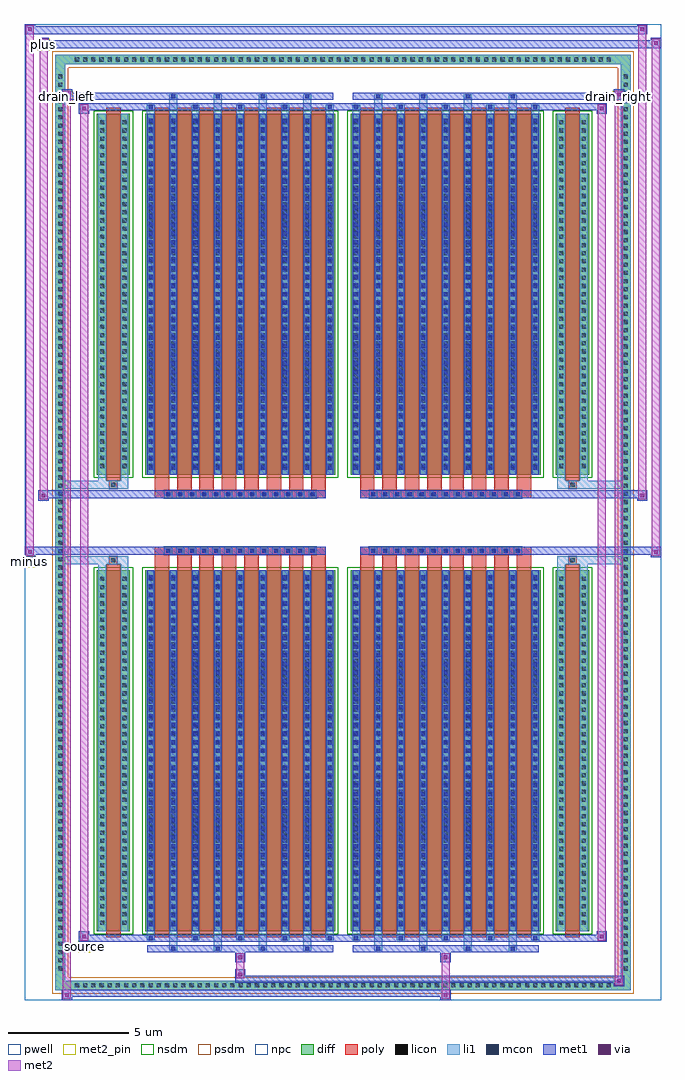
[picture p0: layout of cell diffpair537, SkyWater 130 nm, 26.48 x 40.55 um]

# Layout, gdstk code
import gdstk
lib = gdstk.Library(unit=1e-6, precision=5e-09)
def R(c, l, rs):  # rectangles x0, y0, x1, y1
    for r in rs: c.add(gdstk.rectangle(r[:2], r[2:], *l))
def A(c, l, x, y, w, h, nx, ny, dx, dy):  # array of equal rectangles
    R(c, l, [(x+i*dx, y+j*dy, x+i*dx+w, y+j*dy+h) for i in range(nx) for j in range(ny)])
def P(c, l, *ps):  # polygons
    for p in ps: c.add(gdstk.Polygon(p, *l))
pwell = (64, 44)
diff = (65, 20)
poly = (66, 20)
licon = (66, 44)
li1 = (67, 20)
mcon = (67, 44)
met1 = (68, 20)
via = (68, 44)
met2_pin = (69, 16)
met2 = (69, 20)
nsdm = (93, 44)
psdm = (94, 20)
npc = (95, 20)

diffpair537 = lib.new_cell('diffpair537')
R(diffpair537, pwell, [(-13.22,-19.84,13.22,20.71), (-10.54,-18.03,-0.01,-0.805), (0.01,-18.03,10.54,-0.805), (-10.54,0.805,-0.01,18.03), (0.01,0.805,10.54,18.03)])
A(diffpair537, diff, -11.255, -19.44, 0.41, 0.41, 66, 2, 0.34, 38.47)
A(diffpair537, diff, -11.95, -18.735, 0.41, 0.41, 1, 110, 0, 0.34)
A(diffpair537, diff, 11.54, -18.735, 0.41, 0.41, 1, 110, 0, 0.34)
R(diffpair537, diff, [(-11.255,-19.44,11.255,-19.03), (-11.95,-18.735,-11.54,18.735), (11.54,-18.735,11.95,18.735), (-10.23,-16.985,-8.85,-1.985), (-8.21,-16.985,-0.32,-1.985), (0.32,-16.985,8.21,-1.985), (8.85,-16.985,10.23,-1.985), (-10.23,1.985,-8.85,16.985), (-8.21,1.985,-0.32,16.985), (0.32,1.985,8.21,16.985), (8.85,1.985,10.23,16.985), (-11.255,19.03,11.255,19.44)])
P(diffpair537, diff, [(11.95,19.44),(-11.95,19.44),(-11.95,-19.03),(-11.54,-19.03),(-11.54,19.03),(11.54,19.03),(11.54,-19.03),(-11.54,-19.03),(-11.95,-19.03),(-11.95,-19.44),(11.95,-19.44)])
A(diffpair537, poly, -7.82, -17.235, 0.6, 15.5, 8, 2, 0.93, 18.97)
A(diffpair537, poly, 0.71, -17.235, 0.6, 15.5, 8, 2, 0.93, 18.97)
A(diffpair537, poly, -7.82, -1.735, 0.6, 0.4, 8, 2, 0.93, 3.07)
A(diffpair537, poly, 0.71, -1.735, 0.6, 0.4, 8, 2, 0.93, 3.07)
A(diffpair537, poly, -7.43, -1.335, 0.33, 0.33, 13, 2, 0.5, 2.34)
A(diffpair537, poly, 1.1, -1.335, 0.33, 0.33, 13, 2, 0.5, 2.34)
R(diffpair537, poly, [(-9.84,-17.235,-9.24,-1.735), (9.24,-17.235,9.84,-1.735), (-9.705,-1.735,-9.375,-1.405), (-9.705,-1.735,-9.375,-1.405), (9.375,-1.735,9.705,-1.405), (9.375,-1.735,9.705,-1.405), (-7.82,-1.335,-0.71,-1.005), (0.71,-1.335,7.82,-1.005), (-7.82,1.005,-0.71,1.335), (0.71,1.005,7.82,1.335), (-9.705,1.405,-9.375,1.735), (-9.705,1.405,-9.375,1.735), (9.375,1.405,9.705,1.735), (9.375,1.405,9.705,1.735), (-9.84,1.735,-9.24,17.235), (9.24,1.735,9.84,17.235)])
A(diffpair537, licon, -11.135, -19.32, 0.17, 0.17, 66, 2, 0.34, 38.47)
A(diffpair537, licon, -11.83, -18.615, 0.17, 0.17, 1, 110, 0, 0.34)
A(diffpair537, licon, 11.66, -18.615, 0.17, 0.17, 1, 110, 0, 0.34)
A(diffpair537, licon, -10.09, -16.71, 0.17, 0.17, 1, 43, 0, 0.34)
A(diffpair537, licon, -9.16, -16.71, 0.17, 0.17, 1, 43, 0, 0.34)
A(diffpair537, licon, -8.07, -16.71, 0.17, 0.17, 9, 43, 0.93, 0.34)
A(diffpair537, licon, 0.46, -16.71, 0.17, 0.17, 9, 43, 0.93, 0.34)
A(diffpair537, licon, 8.99, -16.71, 0.17, 0.17, 1, 43, 0, 0.34)
A(diffpair537, licon, 9.92, -16.71, 0.17, 0.17, 1, 43, 0, 0.34)
A(diffpair537, licon, -7.35, -1.255, 0.17, 0.17, 13, 2, 0.5, 2.34)
A(diffpair537, licon, 1.18, -1.255, 0.17, 0.17, 13, 2, 0.5, 2.34)
A(diffpair537, licon, -10.09, 2.26, 0.17, 0.17, 1, 43, 0, 0.34)
A(diffpair537, licon, -9.16, 2.26, 0.17, 0.17, 1, 43, 0, 0.34)
A(diffpair537, licon, -8.07, 2.26, 0.17, 0.17, 9, 43, 0.93, 0.34)
A(diffpair537, licon, 0.46, 2.26, 0.17, 0.17, 9, 43, 0.93, 0.34)
A(diffpair537, licon, 8.99, 2.26, 0.17, 0.17, 1, 43, 0, 0.34)
A(diffpair537, licon, 9.92, 2.26, 0.17, 0.17, 1, 43, 0, 0.34)
R(diffpair537, licon, [(-9.625,-1.655,-9.455,-1.485), (9.455,-1.655,9.625,-1.485), (-9.625,1.485,-9.455,1.655), (9.455,1.485,9.625,1.655)])
A(diffpair537, li1, -11.215, -19.4, 0.33, 0.33, 66, 2, 0.34, 38.47)
A(diffpair537, li1, -11.91, -18.695, 0.33, 0.33, 1, 110, 0, 0.34)
A(diffpair537, li1, 11.58, -18.695, 0.33, 0.33, 1, 110, 0, 0.34)
A(diffpair537, li1, -7.22, -17.79, 0.33, 0.805, 4, 2, 1.86, 34.775)
A(diffpair537, li1, -7.14, -17.79, 0.17, 0.17, 4, 2, 1.86, 35.41)
A(diffpair537, li1, 1.31, -17.79, 0.33, 0.805, 4, 2, 1.86, 34.775)
A(diffpair537, li1, 1.39, -17.79, 0.17, 0.17, 4, 2, 1.86, 35.41)
A(diffpair537, li1, -8.15, -17.36, 0.33, 0.375, 5, 2, 1.86, 34.345)
A(diffpair537, li1, -8.07, -17.36, 0.17, 0.17, 5, 2, 1.86, 34.55)
A(diffpair537, li1, 0.38, -17.36, 0.33, 0.375, 5, 2, 1.86, 34.345)
A(diffpair537, li1, 0.46, -17.36, 0.17, 0.17, 5, 2, 1.86, 34.55)
A(diffpair537, li1, -8.15, -16.985, 0.33, 15, 9, 2, 0.93, 18.97)
A(diffpair537, li1, 0.38, -16.985, 0.33, 15, 9, 2, 0.93, 18.97)
A(diffpair537, li1, -10.17, -16.79, 0.33, 0.33, 1, 43, 0, 0.34)
A(diffpair537, li1, -9.24, -16.79, 0.33, 0.33, 1, 43, 0, 0.34)
A(diffpair537, li1, -8.15, -16.79, 0.33, 0.33, 9, 43, 0.93, 0.34)
A(diffpair537, li1, 0.38, -16.79, 0.33, 0.33, 9, 43, 0.93, 0.34)
A(diffpair537, li1, 8.91, -16.79, 0.33, 0.33, 1, 43, 0, 0.34)
A(diffpair537, li1, 9.84, -16.79, 0.33, 0.33, 1, 43, 0, 0.34)
A(diffpair537, li1, -8.07, -16.77, 0.17, 0.17, 9, 41, 0.93, 0.36)
A(diffpair537, li1, -8.07, -16.77, 0.17, 14.57, 9, 2, 0.93, 18.97)
A(diffpair537, li1, 0.46, -16.77, 0.17, 0.17, 9, 41, 0.93, 0.36)
A(diffpair537, li1, 0.46, -16.77, 0.17, 14.57, 9, 2, 0.93, 18.97)
A(diffpair537, li1, -7.43, -1.335, 0.33, 0.33, 13, 2, 0.5, 2.34)
A(diffpair537, li1, 1.1, -1.335, 0.33, 0.33, 13, 2, 0.5, 2.34)
A(diffpair537, li1, -10.17, 2.18, 0.33, 0.33, 1, 43, 0, 0.34)
A(diffpair537, li1, -9.24, 2.18, 0.33, 0.33, 1, 43, 0, 0.34)
A(diffpair537, li1, -8.15, 2.18, 0.33, 0.33, 9, 43, 0.93, 0.34)
A(diffpair537, li1, 0.38, 2.18, 0.33, 0.33, 9, 43, 0.93, 0.34)
A(diffpair537, li1, 8.91, 2.18, 0.33, 0.33, 1, 43, 0, 0.34)
A(diffpair537, li1, 9.84, 2.18, 0.33, 0.33, 1, 43, 0, 0.34)
A(diffpair537, li1, -8.07, 2.2, 0.17, 0.17, 9, 41, 0.93, 0.36)
A(diffpair537, li1, 0.46, 2.2, 0.17, 0.17, 9, 41, 0.93, 0.36)
R(diffpair537, li1, [(-11.95,-19.44,-11.54,-19.03), (-11.95,-19.44,-11.54,-19.03), (-11.54,-19.44,11.54,-19.03), (11.54,-19.44,11.95,-19.03), (11.54,-19.44,11.95,-19.03), (-11.95,-19.03,-11.54,19.03), (11.54,-19.03,11.95,19.03), (-10.17,-16.985,-9.84,-1.985), (-9.24,-16.985,-8.91,-1.985), (8.91,-16.985,9.24,-1.985), (9.84,-16.985,10.17,-1.985), (-10.17,-1.985,-9.84,-1.405), (-9.24,-1.985,-8.91,-1.405), (8.91,-1.985,9.24,-1.405), (9.84,-1.985,10.17,-1.405), (-11.95,-1.735,-9.705,-1.405), (-10.17,-1.735,-9.705,-1.405), (-9.705,-1.735,-9.375,-1.405), (-9.375,-1.735,-8.91,-1.405), (8.91,-1.735,9.375,-1.405), (9.375,-1.735,9.705,-1.405), (9.375,-1.735,11.95,-1.405), (9.705,-1.735,10.17,-1.405), (-11.95,1.405,-9.705,1.735), (-10.17,1.405,-9.705,1.735), (-10.17,1.405,-9.84,1.985), (-9.705,1.405,-9.375,1.735), (-9.375,1.405,-8.91,1.735), (-9.24,1.405,-8.91,1.985), (8.91,1.405,9.375,1.735), (8.91,1.405,9.24,1.985), (9.375,1.405,9.705,1.735), (9.375,1.405,11.95,1.735), (9.705,1.405,10.17,1.735), (9.84,1.405,10.17,1.985), (-10.17,1.985,-9.84,16.985), (-9.24,1.985,-8.91,16.985), (8.91,1.985,9.24,16.985), (9.84,1.985,10.17,16.985), (-11.95,19.03,-11.54,19.44), (-11.95,19.03,-11.54,19.44), (-11.54,19.03,11.54,19.44), (11.54,19.03,11.95,19.44), (11.54,19.03,11.95,19.44)])
A(diffpair537, mcon, -7.14, -17.79, 0.17, 0.17, 4, 2, 1.86, 35.41)
A(diffpair537, mcon, 1.39, -17.79, 0.17, 0.17, 4, 2, 1.86, 35.41)
A(diffpair537, mcon, -8.07, -17.36, 0.17, 0.17, 5, 2, 1.86, 34.55)
A(diffpair537, mcon, 0.46, -17.36, 0.17, 0.17, 5, 2, 1.86, 34.55)
A(diffpair537, mcon, -8.07, -16.77, 0.17, 0.17, 9, 41, 0.93, 0.36)
A(diffpair537, mcon, 0.46, -16.77, 0.17, 0.17, 9, 41, 0.93, 0.36)
A(diffpair537, mcon, -7.35, -1.255, 0.17, 0.17, 13, 2, 0.5, 2.34)
A(diffpair537, mcon, 1.18, -1.255, 0.17, 0.17, 13, 2, 0.5, 2.34)
A(diffpair537, mcon, -8.07, 2.2, 0.17, 0.17, 9, 41, 0.93, 0.36)
A(diffpair537, mcon, 0.46, 2.2, 0.17, 0.17, 9, 41, 0.93, 0.36)
A(diffpair537, met1, -7.2, -17.85, 0.29, 0.29, 4, 2, 1.86, 35.41)
A(diffpair537, met1, 1.33, -17.85, 0.29, 0.29, 4, 2, 1.86, 35.41)
A(diffpair537, met1, -8.13, -17.42, 0.29, 0.29, 5, 2, 1.86, 34.55)
A(diffpair537, met1, 0.4, -17.42, 0.29, 0.29, 5, 2, 1.86, 34.55)
A(diffpair537, met1, -8.13, -16.985, 0.29, 15, 9, 2, 0.93, 18.97)
A(diffpair537, met1, 0.4, -16.985, 0.29, 15, 9, 2, 0.93, 18.97)
A(diffpair537, met1, -8.13, -16.83, 0.29, 0.29, 9, 41, 0.93, 0.36)
A(diffpair537, met1, 0.4, -16.83, 0.29, 0.29, 9, 41, 0.93, 0.36)
A(diffpair537, met1, -7.41, -1.315, 0.29, 0.29, 13, 2, 0.5, 2.34)
A(diffpair537, met1, 1.12, -1.315, 0.29, 0.29, 13, 2, 0.5, 2.34)
A(diffpair537, met1, -8.13, 2.14, 0.29, 0.29, 9, 41, 0.93, 0.36)
A(diffpair537, met1, 0.4, 2.14, 0.29, 0.29, 9, 41, 0.93, 0.36)
R(diffpair537, met1, [(-11.68,-19.84,-11.25,-19.41), (4.05,-19.84,4.48,-19.41), (-11.68,-19.7,4.48,-19.41), (11.25,-19.27,11.68,-18.84), (-4.48,-19.13,11.68,-18.84), (-4.48,-18.99,-4.05,-18.56), (-4.48,-18.28,-4.05,-17.85), (4.05,-18.28,4.48,-17.85), (-8.13,-17.85,-0.4,-17.56), (0.4,-17.85,8.13,-17.56), (-10.97,-17.42,-10.54,-16.99), (-10.97,-17.42,-8.13,-17.13), (-8.13,-17.42,-0.4,-17.13), (-0.4,-17.42,0.4,-17.13), (0.4,-17.42,8.13,-17.13), (8.13,-17.42,10.97,-17.13), (10.54,-17.42,10.97,-16.99), (-13.22,-1.435,-12.79,-1.005), (12.79,-1.435,13.22,-1.005), (-13.22,-1.335,-0.71,-1.005), (-7.82,-1.335,-0.71,-1.005), (0.71,-1.335,7.82,-1.005), (0.71,-1.335,13.22,-1.005), (-12.65,0.905,-12.22,1.335), (12.22,0.905,12.65,1.335), (-12.65,1.005,-7.82,1.335), (-7.82,1.005,-0.71,1.335), (0.71,1.005,7.82,1.335), (7.82,1.005,12.65,1.335), (-10.97,16.99,-10.54,17.42), (10.54,16.99,10.97,17.42), (-10.97,17.13,-8.13,17.42), (-8.13,17.13,-0.4,17.42), (-0.4,17.13,0.4,17.42), (0.4,17.13,8.13,17.42), (8.13,17.13,10.97,17.42), (-11.68,17.56,-11.25,17.99), (-11.68,17.56,-8.13,17.85), (-8.13,17.56,-0.4,17.85), (0.4,17.56,8.13,17.85), (8.13,17.56,11.68,17.85), (11.25,17.56,11.68,17.99), (-12.65,19.71,-12.22,20.14), (-12.65,19.71,-10.54,20.04), (-10.54,19.71,10.54,20.04), (10.54,19.71,13.22,20.04), (12.79,19.71,13.22,20.14), (-13.22,20.28,-12.79,20.71), (-13.22,20.28,-10.54,20.61), (-10.54,20.28,10.54,20.61), (10.54,20.28,12.65,20.61), (12.22,20.28,12.65,20.71)])
R(diffpair537, via, [(-11.54,-19.7,-11.39,-19.55), (4.19,-19.7,4.34,-19.55), (11.39,-19.13,11.54,-18.98), (-4.34,-18.85,-4.19,-18.7), (-4.34,-18.14,-4.19,-17.99), (4.19,-18.14,4.34,-17.99), (-10.83,-17.28,-10.68,-17.13), (10.68,-17.28,10.83,-17.13), (-13.08,-1.295,-12.93,-1.145), (12.93,-1.295,13.08,-1.145), (-12.51,1.045,-12.36,1.195), (12.36,1.045,12.51,1.195), (-10.83,17.13,-10.68,17.28), (10.68,17.13,10.83,17.28), (-11.54,17.7,-11.39,17.85), (11.39,17.7,11.54,17.85), (-12.51,19.85,-12.36,20), (12.93,19.85,13.08,20), (-13.08,20.42,-12.93,20.57), (12.36,20.42,12.51,20.57)])
R(diffpair537, met2_pin, [(-11.005,-17.87,-10.505,-17.37), (-13.255,-1.885,-12.755,-1.385), (-11.715,17.44,-11.215,17.94), (11.215,17.44,11.715,17.94), (-12.685,19.59,-12.185,20.09)])
R(diffpair537, met2, [(-11.63,-19.79,-11.3,-19.46), (-11.63,-19.79,-11.3,17.94), (4.1,-19.79,4.43,-19.46), (4.1,-19.46,4.43,-18.23), (11.3,-19.22,11.63,-18.89), (11.3,-19.22,11.63,17.94), (-4.43,-18.94,-4.1,-18.61), (-4.43,-18.61,-4.1,-18.23), (-4.43,-18.23,-4.1,-17.9), (4.1,-18.23,4.43,-17.9), (-10.92,-17.37,-10.59,-17.04), (-10.92,-17.37,-10.59,17.37), (10.59,-17.37,10.92,-17.04), (10.59,-17.37,10.92,17.37), (-13.17,-1.385,-12.84,-1.055), (-13.17,-1.385,-12.84,20.66), (12.84,-1.385,13.17,-1.055), (12.84,-1.385,13.17,20.09), (-12.6,0.955,-12.27,1.285), (-12.6,0.955,-12.27,20.09), (12.27,0.955,12.6,1.285), (12.27,0.955,12.6,20.66), (-10.92,17.04,-10.59,17.37), (10.59,17.04,10.92,17.37), (-11.63,17.61,-11.3,17.94), (11.3,17.61,11.63,17.94), (-12.6,19.76,-12.27,20.09), (12.84,19.76,13.17,20.09), (-13.17,20.33,-12.84,20.66), (12.27,20.33,12.6,20.66)])
P(diffpair537, met2, [(13.17,-1.385),(13.17,-1.385),(13.17,-1.055),(13.17,-1.055)],
  [(13.17,19.76),(13.17,19.76),(13.17,20.09),(13.17,20.09)],
  [(-12.84,-1.385),(-12.84,-1.385),(-12.84,-1.055),(-12.84,-1.055)],
  [(-12.84,20.33),(-12.84,20.33),(-12.84,20.66),(-12.84,20.66)],
  [(12.6,0.955),(12.6,0.955),(12.6,1.285),(12.6,1.285)],
  [(12.6,20.33),(12.6,20.33),(12.6,20.66),(12.6,20.66)],
  [(-12.27,0.955),(-12.27,0.955),(-12.27,1.285),(-12.27,1.285)],
  [(-12.27,19.76),(-12.27,19.76),(-12.27,20.09),(-12.27,20.09)],
  [(-11.3,-19.79),(-11.3,-19.79),(-11.3,-19.46),(-11.3,-19.46)],
  [(-11.3,17.61),(-11.3,17.61),(-11.3,17.94),(-11.3,17.94)],
  [(11.63,-19.22),(11.63,-19.22),(11.63,-18.89),(11.63,-18.89)],
  [(11.63,17.61),(11.63,17.61),(11.63,17.94),(11.63,17.94)],
  [(-10.59,-17.37),(-10.59,-17.37),(-10.59,-17.04),(-10.59,-17.04)],
  [(-10.59,17.04),(-10.59,17.04),(-10.59,17.37),(-10.59,17.37)],
  [(10.92,-17.37),(10.92,-17.37),(10.92,-17.04),(10.92,-17.04)],
  [(10.92,17.04),(10.92,17.04),(10.92,17.37),(10.92,17.37)])
R(diffpair537, nsdm, [(-10.36,-17.115,-8.72,-1.855), (-8.34,-17.115,-0.19,-1.855), (0.19,-17.115,8.34,-1.855), (8.72,-17.115,10.36,-1.855), (-10.36,1.855,-8.72,17.115), (-8.34,1.855,-0.19,17.115), (0.19,1.855,8.34,17.115), (8.72,1.855,10.36,17.115)])
P(diffpair537, psdm, [(12.08,19.57),(-12.08,19.57),(-12.08,-18.9),(-11.41,-18.9),(-11.41,18.9),(11.41,18.9),(11.41,-18.9),(-11.41,-18.9),(-12.08,-18.9),(-12.08,-19.57),(12.08,-19.57)])
A(diffpair537, npc, -7.45, -1.355, 0.37, 0.37, 13, 2, 0.5, 2.34)
A(diffpair537, npc, 1.08, -1.355, 0.37, 0.37, 13, 2, 0.5, 2.34)
R(diffpair537, npc, [(-9.725,-1.755,-9.355,-1.385), (9.355,-1.755,9.725,-1.385), (-7.45,-1.355,-6.58,-0.985), (-7.45,-1.355,-6.58,-0.985), (-6.95,-1.355,-6.08,-0.985), (-6.95,-1.355,-6.08,-0.985), (-6.45,-1.355,-5.58,-0.985), (-6.45,-1.355,-5.58,-0.985), (-5.95,-1.355,-5.08,-0.985), (-5.95,-1.355,-5.08,-0.985), (-5.45,-1.355,-4.58,-0.985), (-5.45,-1.355,-4.58,-0.985), (-4.95,-1.355,-4.08,-0.985), (-4.95,-1.355,-4.08,-0.985), (-4.45,-1.355,-3.58,-0.985), (-4.45,-1.355,-3.58,-0.985), (-3.95,-1.355,-3.08,-0.985), (-3.95,-1.355,-3.08,-0.985), (-3.45,-1.355,-2.58,-0.985), (-3.45,-1.355,-2.58,-0.985), (-2.95,-1.355,-2.08,-0.985), (-2.95,-1.355,-2.08,-0.985), (-2.45,-1.355,-1.58,-0.985), (-2.45,-1.355,-1.58,-0.985), (-1.95,-1.355,-1.08,-0.985), (-1.95,-1.355,-1.08,-0.985), (1.08,-1.355,1.95,-0.985), (1.08,-1.355,1.95,-0.985), (1.58,-1.355,2.45,-0.985), (1.58,-1.355,2.45,-0.985), (2.08,-1.355,2.95,-0.985), (2.08,-1.355,2.95,-0.985), (2.58,-1.355,3.45,-0.985), (2.58,-1.355,3.45,-0.985), (3.08,-1.355,3.95,-0.985), (3.08,-1.355,3.95,-0.985), (3.58,-1.355,4.45,-0.985), (3.58,-1.355,4.45,-0.985), (4.08,-1.355,4.95,-0.985), (4.08,-1.355,4.95,-0.985), (4.58,-1.355,5.45,-0.985), (4.58,-1.355,5.45,-0.985), (5.08,-1.355,5.95,-0.985), (5.08,-1.355,5.95,-0.985), (5.58,-1.355,6.45,-0.985), (5.58,-1.355,6.45,-0.985), (6.08,-1.355,6.95,-0.985), (6.08,-1.355,6.95,-0.985), (6.58,-1.355,7.45,-0.985), (6.58,-1.355,7.45,-0.985), (-7.45,0.985,-6.58,1.355), (-7.45,0.985,-6.58,1.355), (-6.95,0.985,-6.08,1.355), (-6.95,0.985,-6.08,1.355), (-6.45,0.985,-5.58,1.355), (-6.45,0.985,-5.58,1.355), (-5.95,0.985,-5.08,1.355), (-5.95,0.985,-5.08,1.355), (-5.45,0.985,-4.58,1.355), (-5.45,0.985,-4.58,1.355), (-4.95,0.985,-4.08,1.355), (-4.95,0.985,-4.08,1.355), (-4.45,0.985,-3.58,1.355), (-4.45,0.985,-3.58,1.355), (-3.95,0.985,-3.08,1.355), (-3.95,0.985,-3.08,1.355), (-3.45,0.985,-2.58,1.355), (-3.45,0.985,-2.58,1.355), (-2.95,0.985,-2.08,1.355), (-2.95,0.985,-2.08,1.355), (-2.45,0.985,-1.58,1.355), (-2.45,0.985,-1.58,1.355), (-1.95,0.985,-1.08,1.355), (-1.95,0.985,-1.08,1.355), (1.08,0.985,1.95,1.355), (1.08,0.985,1.95,1.355), (1.58,0.985,2.45,1.355), (1.58,0.985,2.45,1.355), (2.08,0.985,2.95,1.355), (2.08,0.985,2.95,1.355), (2.58,0.985,3.45,1.355), (2.58,0.985,3.45,1.355), (3.08,0.985,3.95,1.355), (3.08,0.985,3.95,1.355), (3.58,0.985,4.45,1.355), (3.58,0.985,4.45,1.355), (4.08,0.985,4.95,1.355), (4.08,0.985,4.95,1.355), (4.58,0.985,5.45,1.355), (4.58,0.985,5.45,1.355), (5.08,0.985,5.95,1.355), (5.08,0.985,5.95,1.355), (5.58,0.985,6.45,1.355), (5.58,0.985,6.45,1.355), (6.08,0.985,6.95,1.355), (6.08,0.985,6.95,1.355), (6.58,0.985,7.45,1.355), (6.58,0.985,7.45,1.355), (-9.725,1.385,-9.355,1.755), (9.355,1.385,9.725,1.755)])
diffpair537.add(gdstk.Label('minus', (-13.005,-1.635), layer=69, texttype=5))
diffpair537.add(gdstk.Label('drain_right', (11.465,17.69), layer=69, texttype=5))
diffpair537.add(gdstk.Label('drain_left', (-11.465,17.69), layer=69, texttype=5))
diffpair537.add(gdstk.Label('source', (-10.755,-17.62), layer=69, texttype=5))
diffpair537.add(gdstk.Label('plus', (-12.435,19.84), layer=69, texttype=5))

lib.write_gds('diffpair537.gds')
